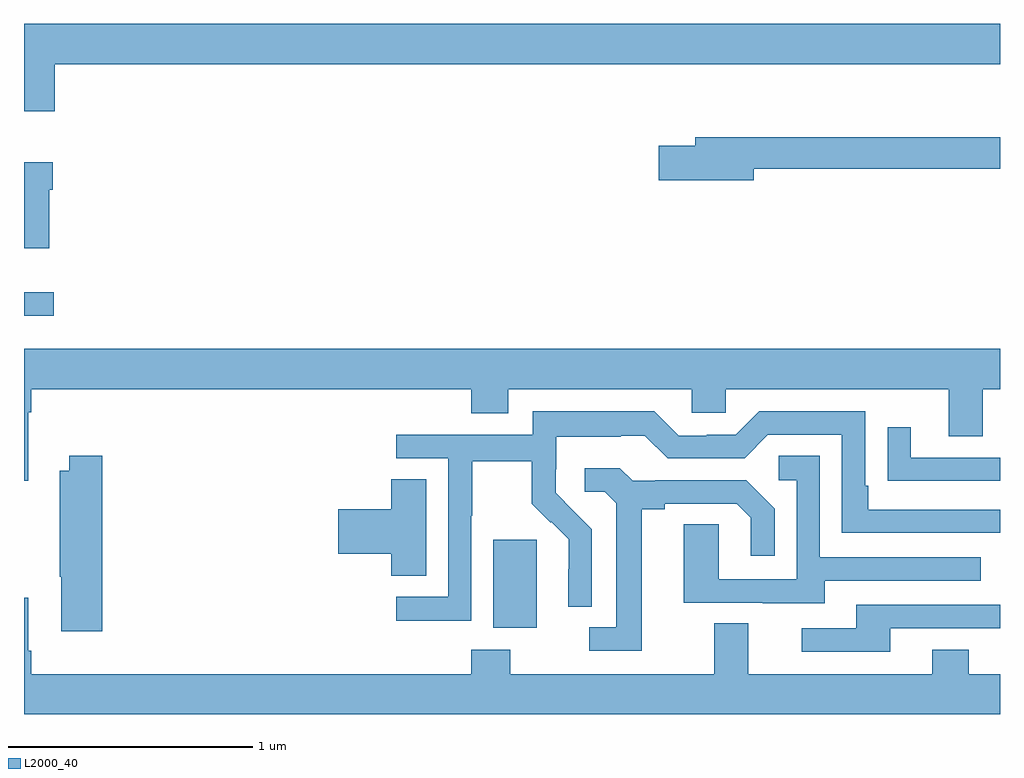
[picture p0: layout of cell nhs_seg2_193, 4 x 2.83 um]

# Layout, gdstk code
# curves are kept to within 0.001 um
import gdstk
lib = gdstk.Library(unit=1e-6, precision=1e-09)
def R(c, l, rs):  # rectangles x0, y0, x1, y1
    for r in rs: c.add(gdstk.rectangle(r[:2], r[2:], *l))
def P(c, l, *ps):  # polygons
    for p in ps: c.add(gdstk.Polygon(p, *l))
L2000_40 = (2000, 40)

nhs_seg2_193 = lib.new_cell('nhs_seg2_193')
R(nhs_seg2_193, L2000_40, [(120.923,662.642,121.102,663.003), (119,663.92,119.122,664.017)])
P(nhs_seg2_193, L2000_40, [(119.126,664.952),(123,664.952),(123,665.116),(119,665.116),(119,664.758),(119.126,664.758)],
  [(121.99,664.522),(123,664.522),(123,664.651),(121.751,664.651),(121.751,664.617),(121.602,664.617),(121.602,664.475),(121.99,664.475)],
  [(119.104,664.436),(119.117,664.436),(119.117,664.549),(119,664.549),(119,664.196),(119.104,664.196)],
  [(119.017,663.524),(119.03,663.524),(119.03,663.62),(120.833,663.62),(120.833,663.521),(120.985,663.521),(120.985,663.62),(121.737,663.62),(121.737,663.522),(121.875,663.522),(121.875,663.62),(122.789,663.62),(122.789,663.426),(122.929,663.426),(122.929,663.62),(123,663.62),(123,663.784),(119,663.784),(119,663.243),(119.017,663.243)],
  [(120.834,663.1),(120.837,663.1),(120.837,663.324),(121.081,663.324),(121.081,663.149),(121.158,663.072),(121.161,663.075),(121.232,663.005),(121.232,662.882),(121.23,662.882),(121.23,662.728),(121.326,662.728),(121.326,663.046),(121.18,663.194),(121.18,663.291),(121.182,663.291),(121.182,663.425),(121.445,663.425),(121.445,663.429),(121.545,663.429),(121.638,663.336),(121.953,663.336),(122.049,663.432),(122.352,663.432),(122.352,663.03),(123,663.03),(123,663.126),(122.461,663.126),(122.461,663.223),(122.448,663.223),(122.448,663.528),(122.013,663.528),(121.917,663.432),(121.799,663.432),(121.799,663.429),(121.683,663.429),(121.583,663.529),(121.086,663.529),(121.086,663.432),(120.525,663.432),(120.525,663.336),(120.738,663.336),(120.738,662.769),(120.525,662.769),(120.525,662.671),(120.834,662.671)],
  [(123,663.339),(122.635,663.339),(122.635,663.463),(122.539,663.463),(122.539,663.244),(122.641,663.244),(122.641,663.243),(123,663.243)],
  [(122.281,662.835),(122.921,662.835),(122.921,662.931),(122.262,662.931),(122.262,663.347),(122.094,663.347),(122.094,663.246),(122.166,663.246),(122.166,662.841),(121.848,662.841),(121.848,663.065),(121.703,663.065),(121.703,662.745),(122.027,662.745),(122.027,662.741),(122.281,662.741)],
  [(119.321,663.346),(119.186,663.346),(119.186,663.286),(119.146,663.286),(119.146,662.851),(119.153,662.851),(119.153,662.628),(119.321,662.628)],
  [(121.531,663.128),(121.627,663.128),(121.627,663.15),(121.922,663.15),(121.979,663.093),(121.979,662.937),(122.076,662.937),(122.076,663.13),(121.96,663.246),(121.588,663.246),(121.588,663.243),(121.494,663.243),(121.442,663.295),(121.299,663.295),(121.299,663.198),(121.38,663.198),(121.427,663.151),(121.427,662.643),(121.317,662.643),(121.317,662.547),(121.531,662.547)],
  [(120.649,663.251),(120.506,663.251),(120.506,663.128),(120.288,663.128),(120.288,662.945),(120.506,662.945),(120.506,662.854),(120.649,662.854)],
  [(123,662.452),(122.871,662.452),(122.871,662.551),(122.723,662.551),(122.723,662.452),(121.969,662.452),(121.969,662.66),(121.829,662.66),(121.829,662.452),(120.993,662.452),(120.993,662.551),(120.833,662.551),(120.833,662.452),(119.03,662.452),(119.03,662.548),(119.017,662.548),(119.017,662.764),(119,662.764),(119,662.288),(123,662.288)],
  [(122.551,662.64),(123,662.64),(123,662.736),(122.411,662.736),(122.411,662.64),(122.187,662.64),(122.187,662.544),(122.551,662.544)])

lib.write_gds('nhs_seg2_193.gds')
